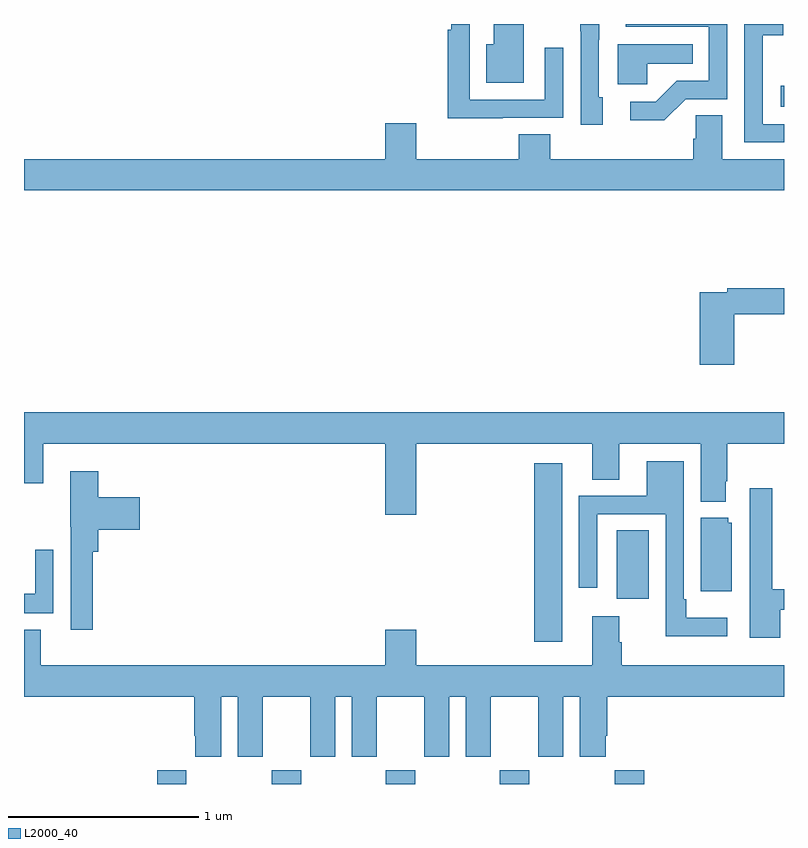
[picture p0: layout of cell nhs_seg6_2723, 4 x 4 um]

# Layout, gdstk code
import gdstk
lib = gdstk.Library(unit=1e-6, precision=1e-09)
def R(c, l, rs):  # rectangles x0, y0, x1, y1
    for r in rs: c.add(gdstk.rectangle(r[:2], r[2:], *l))
def A(c, l, x, y, w, h, nx, ny, dx, dy):  # array of equal rectangles
    R(c, l, [(x+i*dx, y+j*dy, x+i*dx+w, y+j*dy+h) for i in range(nx) for j in range(ny)])
def P(c, l, *ps):  # polygons
    for p in ps: c.add(gdstk.Polygon(p, *l))
L2000_40 = (2000, 40)

nhs_seg6_2723 = lib.new_cell('nhs_seg6_2723')
A(nhs_seg6_2723, L2000_40, 272.305, 989.5, 0.155, 0.072, 3, 1, 0.6, 0)
R(nhs_seg6_2723, L2000_40, [(271.7,989.5,271.855,989.572), (274.109,989.5,274.265,989.572), (273.686,990.249,273.832,991.189), (274.121,990.474,274.288,990.836), (274.983,993.065,275,993.175)])
P(nhs_seg6_2723, L2000_40, [(274.482,993.105),(274.701,993.105),(274.701,993.5),(274.167,993.5),(274.167,993.486),(274.605,993.486),(274.605,993.201),(274.436,993.201),(274.325,993.09),(274.191,993.09),(274.191,992.993),(274.369,992.993)],
  [(274.045,993.114),(274.026,993.114),(274.026,993.418),(274.027,993.418),(274.027,993.5),(273.928,993.5),(273.928,993.463),(273.93,993.463),(273.93,992.97),(274.045,992.97)],
  [(275,992.973),(274.887,992.973),(274.887,993.442),(274.997,993.442),(274.997,993.5),(274.791,993.5),(274.791,992.877),(275,992.877)],
  [(273.631,993.5),(273.473,993.5),(273.473,993.394),(273.434,993.394),(273.434,993.191),(273.631,993.191)],
  [(273.521,993.006),(273.837,993.006),(273.837,993.376),(273.741,993.376),(273.741,993.102),(273.345,993.102),(273.345,993.5),(273.248,993.5),(273.248,993.47),(273.229,993.47),(273.229,993.005),(273.521,993.005)],
  [(274.281,993.29),(274.52,993.29),(274.52,993.394),(274.124,993.394),(274.124,993.182),(274.281,993.182)],
  [(275,992.788),(274.675,992.788),(274.675,993.02),(274.536,993.02),(274.536,992.897),(274.523,992.897),(274.523,992.788),(273.77,992.788),(273.77,992.921),(273.605,992.921),(273.605,992.788),(273.064,992.788),(273.064,992.977),(272.9,992.977),(272.9,992.788),(271,992.788),(271,992.624),(275,992.624)],
  [(274.739,991.972),(275,991.972),(275,992.108),(274.702,992.108),(274.702,992.088),(274.556,992.088),(274.556,991.707),(274.739,991.707)],
  [(273.064,991.292),(273.992,991.292),(273.992,991.102),(274.132,991.102),(274.132,991.292),(274.562,991.292),(274.562,990.986),(274.693,990.986),(274.693,991.093),(274.701,991.093),(274.701,991.292),(275,991.292),(275,991.456),(271,991.456),(271,991.084),(271.1,991.084),(271.1,991.292),(272.9,991.292),(272.9,990.918),(273.064,990.918)],
  [(274.702,990.376),(274.486,990.376),(274.486,990.472),(274.473,990.472),(274.473,991.198),(274.277,991.198),(274.277,991.017),(273.921,991.017),(273.921,990.534),(274.017,990.534),(274.017,990.921),(274.377,990.921),(274.377,990.278),(274.702,990.278)],
  [(271.361,990.722),(271.391,990.722),(271.391,990.839),(271.609,990.839),(271.609,991.009),(271.391,991.009),(271.391,991.147),(271.244,991.147),(271.244,990.855),(271.245,990.855),(271.245,990.312),(271.361,990.312)],
  [(274.981,990.417),(275,990.417),(275,990.525),(274.939,990.525),(274.939,991.057),(274.82,991.057),(274.82,990.27),(274.981,990.27)],
  [(274.726,990.876),(274.707,990.876),(274.707,990.901),(274.562,990.901),(274.562,990.515),(274.726,990.515)],
  [(271.155,990.733),(271.059,990.733),(271.059,990.502),(271,990.502),(271,990.398),(271.155,990.398)],
  [(272.038,989.96),(272.126,989.96),(272.126,989.643),(272.257,989.643),(272.257,989.96),(272.507,989.96),(272.507,989.643),(272.638,989.643),(272.638,989.96),(272.726,989.96),(272.726,989.643),(272.857,989.643),(272.857,989.96),(273.107,989.96),(273.107,989.643),(273.238,989.643),(273.238,989.96),(273.326,989.96),(273.326,989.643),(273.457,989.643),(273.457,989.96),(273.707,989.96),(273.707,989.643),(273.838,989.643),(273.838,989.96),(273.926,989.96),(273.926,989.643),(274.063,989.643),(274.063,989.755),(274.07,989.755),(274.07,989.96),(275,989.96),(275,990.124),(274.145,990.124),(274.145,990.245),(274.132,990.245),(274.132,990.382),(273.992,990.382),(273.992,990.124),(273.064,990.124),(273.064,990.313),(272.9,990.313),(272.9,990.124),(271.087,990.124),(271.087,990.313),(271,990.313),(271,989.96),(271.895,989.96),(271.895,989.755),(271.901,989.755),(271.901,989.643),(272.038,989.643)])

lib.write_gds('nhs_seg6_2723.gds')
